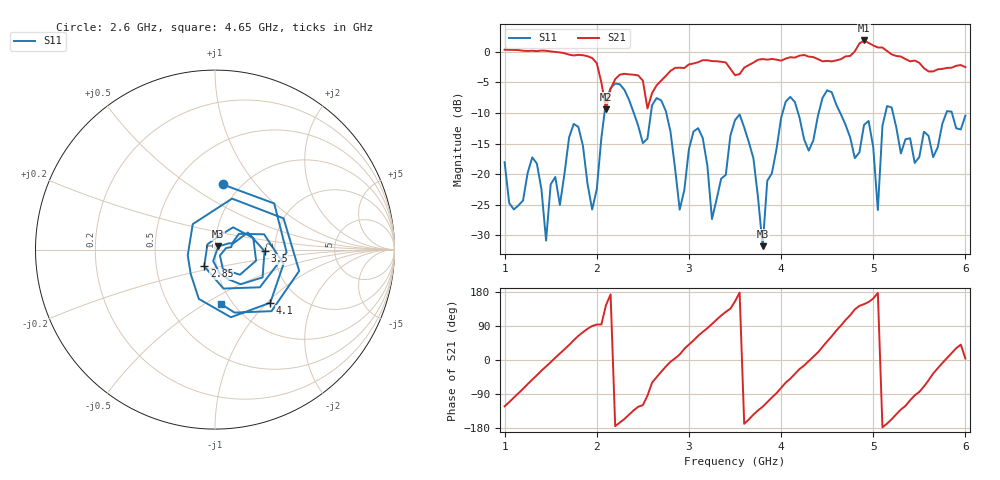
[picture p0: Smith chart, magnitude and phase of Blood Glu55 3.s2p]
! NanoVNA-App
! Date: 2024-03-21 12:12:50
! Start: 1GHz Stop: 6GHz Points: 101
! S-Parameter data: F S11 S21 S12 S22
# Hz S RI R 50
!	Frequency	S11_Real	S11_Imag	S21_Real	S21_Imag	S12_Real	S12_Imag	S22_Real	S22_Imag
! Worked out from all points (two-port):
!   101 points, 1 GHz to 6 GHz, reference 50 ohm
!   highest |S21| = 1.83 dB at 4.9 GHz (marker M1); lowest = -9.4 dB at 2.1 GHz (marker M2)
!   |S21| within 3 dB of the highest: start of sweep to 1.958 GHz; 4.655 GHz to 5.346 GHz (690.3 MHz wide, 13.8 % of centre)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
!   lowest |S11| = -31.8 dB at 3.8 GHz (marker M3), VSWR 1.05, Z = 51.9 + j1.87 ohm
!   |S11| at or under -10 dB: start of sweep to 2.084 GHz; 2.754 GHz to 4.016 GHz (1.262 GHz wide, 37.3 % of centre); 5.214 GHz to 5.793 GHz (579.4 MHz wide, 10.5 % of centre)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
!   S12 and S22 are empty: the file has one direction only
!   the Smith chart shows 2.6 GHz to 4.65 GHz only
!   S11 on the Smith chart (normalised r, x): 2.6 GHz: 0.83, +0.69; 2.85 GHz: 0.87, -0.16; 3.5 GHz: 1.76, -0.03; 4.1 GHz: 1.44, -1.05; 4.65 GHz: 0.89, -0.60
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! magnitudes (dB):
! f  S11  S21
! 1 GHz  -18.0  0.3
! 1.35 GHz  -18.3  0.1
! 1.45 GHz  -30.9  0.1
! 1.85 GHz  -15.4  -0.6
! 1.95 GHz  -25.8  -1.0
! 2.1 GHz  -8.1  -9.4
! 2.6 GHz  -8.7  -6.8
! 2.7 GHz  -8.0  -4.7
! 2.85 GHz  -19.1  -2.6
! 3.1 GHz  -12.5  -1.7
! 3.25 GHz  -27.3  -1.5
! 3.5 GHz  -11.2  -3.8
! 3.8 GHz  -31.8  -1.2
! 4.1 GHz  -7.4  -0.9
! 4.35 GHz  -14.5  -0.9
! 4.65 GHz  -10.3  -1.2
! 4.9 GHz  -12.0  1.8
! 5.05 GHz  -25.9  0.7
! 5.1 GHz  -12.1  0.7
! 5.2 GHz  -9.1  -0.4
! 5.45 GHz  -18.2  -1.4
! 6 GHz  -10.5  -2.5
